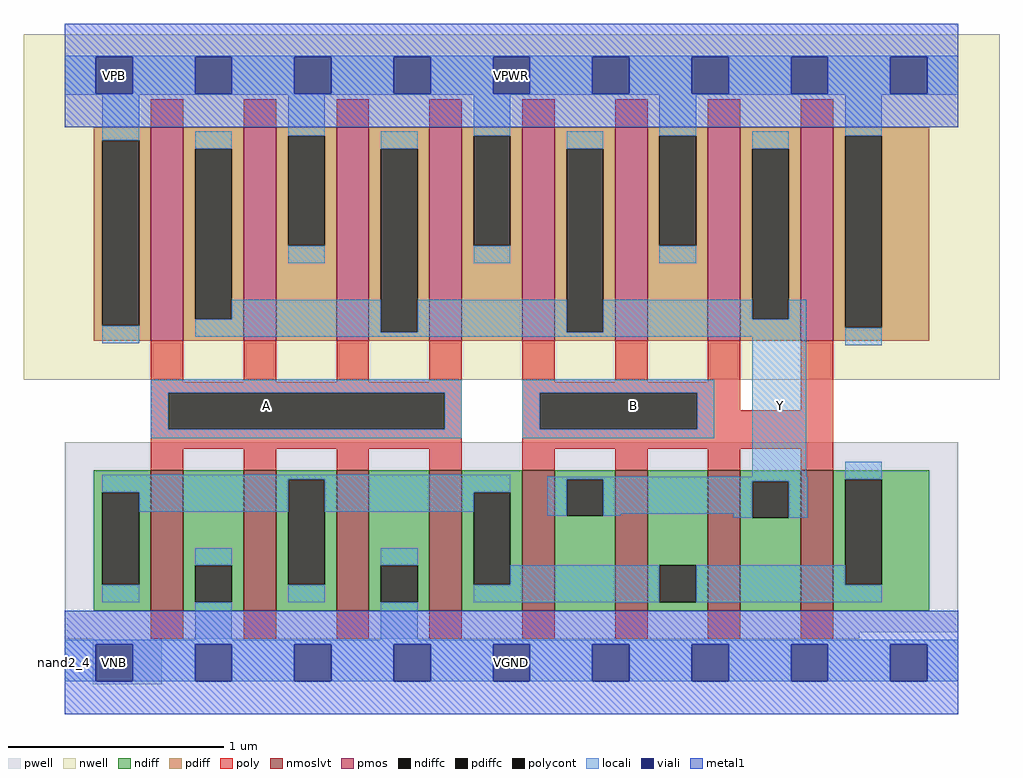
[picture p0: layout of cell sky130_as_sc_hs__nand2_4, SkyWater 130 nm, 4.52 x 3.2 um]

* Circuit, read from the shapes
.subckt sky130_as_sc_hs__nand2_4 VNB VPB VPWR VGND A B Y
XM1 VGND A n1 VNB sky130_fd_pr__nfet_01v8_lvt w=0.65 l=0.15 m=4
XM2 Y B n1 VNB sky130_fd_pr__nfet_01v8_lvt w=0.65 l=0.15 m=4
XM3 Y A VPWR VPB sky130_fd_pr__pfet_01v8 w=0.99 l=0.15 m=4
XM4 Y B VPWR VPB sky130_fd_pr__pfet_01v8 w=0.99 l=0.15 m=4
.ends

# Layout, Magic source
magic
tech sky130A
magscale 1 2
<< nwell >>
rect -38 262 866 582
<< pwell >>
rect 0 28 828 204
rect 0 22 736 28
rect 26 -20 90 22
<< pmos >>
rect 80 298 110 496
rect 166 298 196 496
rect 252 298 282 496
rect 338 298 368 496
rect 424 298 454 496
rect 510 298 540 496
rect 596 298 626 496
rect 682 298 712 496
<< nmoslvt >>
rect 80 48 110 178
rect 166 48 196 178
rect 252 48 282 178
rect 338 48 368 178
rect 424 48 454 178
rect 510 48 540 178
rect 596 48 626 178
rect 682 48 712 178
<< ndiff >>
rect 27 158 80 178
rect 27 72 35 158
rect 69 72 80 158
rect 27 48 80 72
rect 110 90 166 178
rect 110 56 121 90
rect 155 56 166 90
rect 110 48 166 56
rect 196 170 252 178
rect 196 72 207 170
rect 241 72 252 170
rect 196 48 252 72
rect 282 90 338 178
rect 282 56 293 90
rect 327 56 338 90
rect 282 48 338 56
rect 368 158 424 178
rect 368 72 379 158
rect 413 72 424 158
rect 368 48 424 72
rect 454 170 510 178
rect 454 136 465 170
rect 499 136 510 170
rect 454 48 510 136
rect 540 90 596 178
rect 540 56 551 90
rect 585 56 596 90
rect 540 48 596 56
rect 626 168 682 178
rect 626 134 637 168
rect 671 134 682 168
rect 626 48 682 134
rect 712 170 801 178
rect 712 72 723 170
rect 757 72 801 170
rect 712 48 801 72
<< pdiff >>
rect 27 484 80 496
rect 27 312 35 484
rect 69 312 80 484
rect 27 298 80 312
rect 110 476 166 496
rect 110 318 121 476
rect 155 318 166 476
rect 110 298 166 318
rect 196 488 252 496
rect 196 386 207 488
rect 241 386 252 488
rect 196 298 252 386
rect 282 476 338 496
rect 282 306 293 476
rect 327 306 338 476
rect 282 298 338 306
rect 368 488 424 496
rect 368 386 379 488
rect 413 386 424 488
rect 368 298 424 386
rect 454 476 510 496
rect 454 306 465 476
rect 499 306 510 476
rect 454 298 510 306
rect 540 488 596 496
rect 540 386 551 488
rect 585 386 596 488
rect 540 298 596 386
rect 626 476 682 496
rect 626 318 637 476
rect 671 318 682 476
rect 626 298 682 318
rect 712 488 801 496
rect 712 310 723 488
rect 757 310 801 488
rect 712 298 801 310
<< ndiffc >>
rect 35 72 69 158
rect 121 56 155 90
rect 207 72 241 170
rect 293 56 327 90
rect 379 72 413 158
rect 465 136 499 170
rect 551 56 585 90
rect 637 134 671 168
rect 723 72 757 170
<< pdiffc >>
rect 35 312 69 484
rect 121 318 155 476
rect 207 386 241 488
rect 293 306 327 476
rect 379 386 413 488
rect 465 306 499 476
rect 551 386 585 488
rect 637 318 671 476
rect 723 310 757 488
<< poly >>
rect 80 496 110 522
rect 166 496 196 522
rect 252 496 282 522
rect 338 496 368 522
rect 424 496 454 522
rect 510 496 540 522
rect 596 496 626 522
rect 682 496 712 522
rect 80 260 110 298
rect 166 260 196 298
rect 252 260 282 298
rect 338 260 368 298
rect 80 250 368 260
rect 80 216 96 250
rect 352 216 368 250
rect 80 198 368 216
rect 80 178 110 198
rect 166 178 196 198
rect 252 178 282 198
rect 338 178 368 198
rect 424 260 454 298
rect 510 260 540 298
rect 596 260 626 298
rect 424 250 626 260
rect 424 216 440 250
rect 586 234 626 250
rect 682 234 712 298
rect 586 216 712 234
rect 424 198 712 216
rect 424 178 454 198
rect 510 178 540 198
rect 596 178 626 198
rect 682 178 712 198
rect 80 22 110 48
rect 166 22 196 48
rect 252 22 282 48
rect 338 22 368 48
rect 424 22 454 48
rect 510 22 540 48
rect 596 22 626 48
rect 682 22 712 48
<< polycont >>
rect 96 216 352 250
rect 440 216 586 250
<< locali >>
rect 0 561 828 562
rect 0 527 29 561
rect 63 527 121 561
rect 155 527 213 561
rect 247 527 305 561
rect 339 527 397 561
rect 431 527 489 561
rect 523 527 581 561
rect 615 527 673 561
rect 707 527 765 561
rect 799 527 828 561
rect 0 526 828 527
rect 35 484 69 526
rect 35 296 69 312
rect 121 476 155 492
rect 207 488 241 526
rect 207 370 241 386
rect 293 476 327 492
rect 155 318 293 336
rect 121 306 293 318
rect 379 488 413 526
rect 379 370 413 386
rect 465 476 499 492
rect 327 306 465 336
rect 551 488 585 526
rect 551 370 585 386
rect 637 476 671 492
rect 499 318 637 336
rect 723 488 757 526
rect 671 318 687 336
rect 499 306 687 318
rect 121 302 687 306
rect 80 250 368 262
rect 80 216 96 250
rect 352 216 368 250
rect 80 208 368 216
rect 424 250 602 262
rect 424 216 440 250
rect 586 216 602 250
rect 424 208 602 216
rect 35 170 413 174
rect 637 172 687 302
rect 723 294 757 310
rect 35 158 207 170
rect 69 140 207 158
rect 35 56 69 72
rect 121 90 155 106
rect 241 158 413 170
rect 241 140 379 158
rect 207 56 241 72
rect 293 90 327 106
rect 447 170 688 172
rect 447 136 465 170
rect 499 168 688 170
rect 499 138 637 168
rect 499 136 515 138
rect 620 134 637 138
rect 671 134 688 168
rect 723 170 757 186
rect 413 72 551 90
rect 379 56 551 72
rect 585 72 723 90
rect 585 56 757 72
rect 121 21 155 56
rect 293 21 327 56
rect 0 17 828 21
rect 0 -17 29 17
rect 63 -17 121 17
rect 155 -17 213 17
rect 247 -17 305 17
rect 339 -17 397 17
rect 431 -17 489 17
rect 523 -17 581 17
rect 615 -17 673 17
rect 707 -17 765 17
rect 799 -17 828 17
<< viali >>
rect 29 527 63 561
rect 121 527 155 561
rect 213 527 247 561
rect 305 527 339 561
rect 397 527 431 561
rect 489 527 523 561
rect 581 527 615 561
rect 673 527 707 561
rect 765 527 799 561
rect 29 -17 63 17
rect 121 -17 155 17
rect 213 -17 247 17
rect 305 -17 339 17
rect 397 -17 431 17
rect 489 -17 523 17
rect 581 -17 615 17
rect 673 -17 707 17
rect 765 -17 799 17
<< metal1 >>
rect 0 561 828 592
rect 0 527 29 561
rect 63 527 121 561
rect 155 527 213 561
rect 247 527 305 561
rect 339 527 397 561
rect 431 527 489 561
rect 523 527 581 561
rect 615 527 673 561
rect 707 527 765 561
rect 799 527 828 561
rect 0 496 828 527
rect 0 17 828 48
rect 0 -17 29 17
rect 63 -17 121 17
rect 155 -17 213 17
rect 247 -17 305 17
rect 339 -17 397 17
rect 431 -17 489 17
rect 523 -17 581 17
rect 615 -17 673 17
rect 707 -17 765 17
rect 799 -17 828 17
rect 0 -48 828 -17
<< labels >>
rlabel comment s 0 0 0 0 4 nand2_4
flabel pwell s 29 -17 63 17 0 FreeSans 200 0 0 0 VNB
port 1 nsew ground bidirectional
flabel pwell s 46 0 46 0 0 FreeSans 200 0 0 0 VNB
flabel nwell s 29 527 63 561 0 FreeSans 200 0 0 0 VPB
port 2 nsew power bidirectional
flabel nwell s 46 544 46 544 0 FreeSans 200 0 0 0 VPB
flabel metal1 s 29 527 63 561 0 FreeSans 200 0 0 0 VPWR
port 3 nsew power bidirectional abutment
flabel metal1 s 29 -17 63 17 0 FreeSans 200 0 0 0 VGND
port 4 nsew ground bidirectional abutment
rlabel metal1 s 0 -48 828 48 1 VGND
port 4 nsew ground bidirectional abutment
rlabel metal1 s 0 496 828 592 1 VPWR
port 3 nsew power bidirectional abutment
flabel locali s 170 221 204 255 0 FreeSans 200 0 0 0 A
port 5 nsew signal input
flabel locali s 187 238 187 238 0 FreeSans 200 0 0 0 A
flabel locali s 510 221 544 255 0 FreeSans 200 0 0 0 B
port 6 nsew signal input
flabel locali s 527 238 527 238 0 FreeSans 200 0 0 0 B
flabel locali s 646 221 680 255 0 FreeSans 200 0 0 0 Y
port 7 nsew signal output
flabel locali s 663 238 663 238 0 FreeSans 200 0 0 0 Y
<< properties >>
string FIXED_BBOX 0 0 828 544
string GDS_FILE $PDKPATH/libs.ref/sky130_as_sc_hs/gds/sky130_as_sc_hs__nand2_4.gds
string LEFclass CORE
string LEFsite unithd
string LEFsymmetry X Y R90
string MASKHINTS_LVTN 0 -4 828 216
string MASKHINTS_NSDM 0 -38 828 203
string MASKHINTS_PSDM 0 273 828 582
<< end >>
